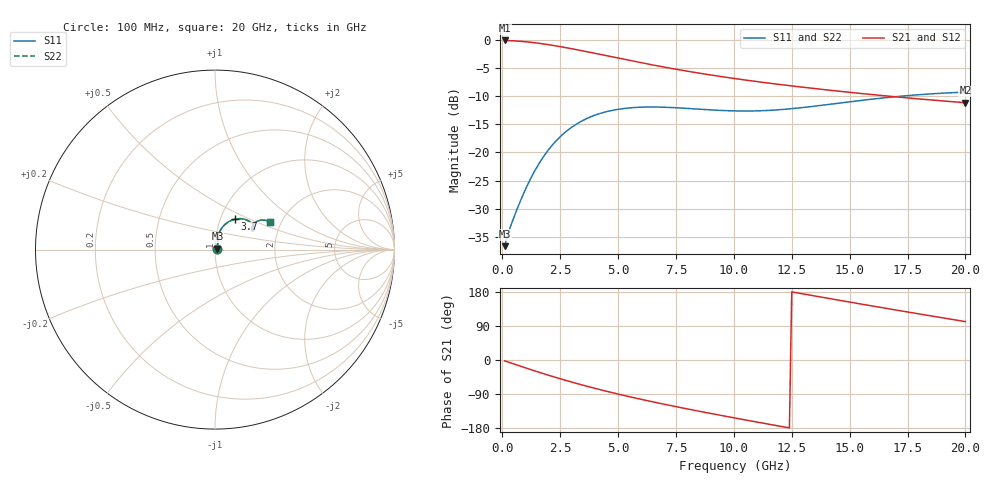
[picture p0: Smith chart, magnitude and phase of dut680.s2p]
! Touchstone file exported from HFSS 2024.1.0
!  File:  C:/UserFiles/LocalFiles/RDL_TSV_Batchsim/temp_RDL_TSV_680_1779816698.aedt
!  Generated:  01:51:08 AM May 27, 2026
!  Design:  RDL_TSV
!  Project:  temp_RDL_TSV_680_1779816698
!  Setup:  Setup1
!  Solution:  Sweep
! Variables:
!  dtsv = 7.16um
!  hbump = 3um
!  htsv = 69.3um
!  ldown = 472.02um
!  lrdl = 653.07um
!  p = 40
!  p1 = 54.77um
!  rhole = 10um
!  subl = 4028.34um
!  t = 450um
!  tdown = 3.68um
!  trdl = 4.92um
!  viad = 10um
!  wdown = 26.28um
!  wrdl = 25.49um
!  xbump = 18um
# GHz S MA R 50.000000
! Terminal data exported
! Port[1] = TM1_1_T1
! Port[2] = TM1_4_T1
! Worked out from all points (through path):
!   200 points, 100 MHz to 20 GHz, reference 50 ohm
!   highest |S21| = -0.13 dB at 100 MHz (marker M1); lowest = -11.2 dB at 20 GHz (marker M2)
!   group delay of S21, straight-line fit = 34.1 ps
!   lowest |S11| = -36.6 dB at 100 MHz (marker M3), VSWR 1.03, Z = 51.4 + j0.536 ohm
!   |S11| at or under -10 dB: start of sweep to 17.27 GHz
!   |S22| runs from -36.6 to -9.3 dB; largest |S21 - S12| = 9e-15
!   S11 on the Smith chart (normalised r, x): 100 MHz: 1.03, +0.01; 3.7 GHz: 1.17, +0.41; 20 GHz: 1.76, +0.60
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0.1  0.01474 20.7  0.9852 -2.2  0.9852 -2.2  0.01472 20.6
! Gamma 0 0 0 0
! Port Impedance 50 0 50 0
0.4  0.02338 48.9  0.9795 -8.5  0.9795 -8.5  0.0233 48.8
0.8  0.03788 66.9  0.9679 -16.7  0.9679 -16.7  0.03772 66.9
1.2  0.05736 74.7  0.9506 -24.8  0.9506 -24.8  0.05714 74.7
1.6  0.08064 76.5  0.9288 -32.7  0.9288 -32.7  0.08036 76.5
2  0.1059 75.0  0.9035 -40.3  0.9035 -40.3  0.1056 75.0
2.5  0.1378 70.6  0.8688 -49.5  0.8688 -49.5  0.1374 70.6
3  0.1675 65.1  0.8321 -58.3  0.8321 -58.3  0.167 65.1
3.5  0.1932 59.3  0.7947 -66.7  0.7947 -66.7  0.1926 59.2
3.7  0.2021 57.0  0.7798 -70.0  0.7798 -70.0  0.2015 56.9
4.4  0.2272 49.2  0.7289 -81.0  0.7289 -81.0  0.2265 49.1
5.2  0.2446 41.5  0.6744 -92.8  0.6744 -92.8  0.2437 41.4
6  0.2521 35.3  0.625 -103.8  0.625 -103.8  0.251 35.2
6.8  0.2525 30.6  0.5812 -114.3  0.5812 -114.3  0.2513 30.5
8.4  0.2427 25.9  0.509 -134.0  0.509 -134.0  0.2413 25.8
10.1  0.2335 26.6  0.4505 -153.7  0.4505 -153.7  0.2319 26.6
11.7  0.2373 30.1  0.4075 -171.5  0.4075 -171.5  0.2358 30.1
13.4  0.256 33.2  0.3705 169.9  0.3705 169.9  0.2546 33.3
15.1  0.2829 33.7  0.3399 151.8  0.3399 151.8  0.2817 33.9
16.7  0.3082 32.2  0.3155 135.0  0.3155 135.0  0.3071 32.3
18.3  0.3287 29.5  0.2947 118.6  0.2947 118.6  0.3276 29.6
20  0.3428 26.2  0.2763 101.3  0.2763 101.3  0.3417 26.2
